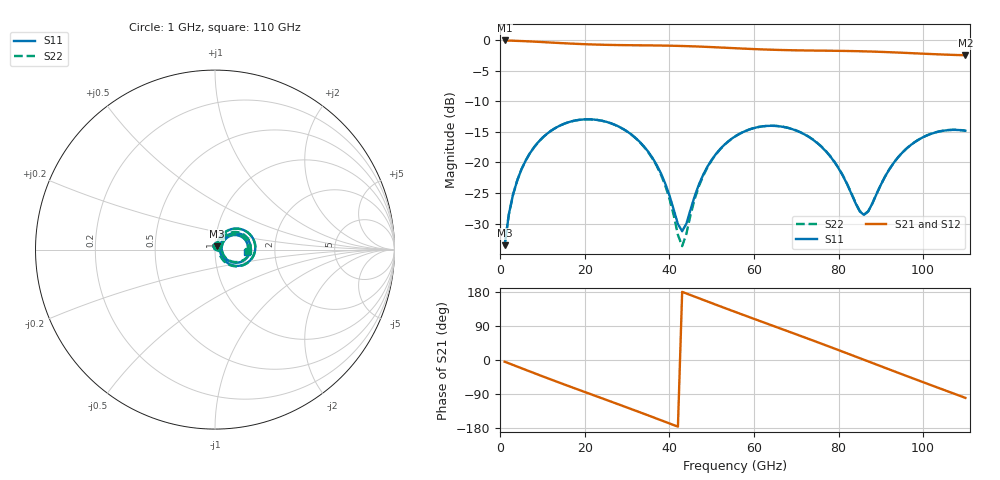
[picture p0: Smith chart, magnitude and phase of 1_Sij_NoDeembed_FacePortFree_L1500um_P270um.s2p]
! Touchstone file exported from HFSS 2024.2.0
!  File:  C:/Users/vaintrug/Documents/Ansoft_Workspace/Comparaison_Calculs_HFSS/1_VarPort.aedt
!  Generated:  03:22:17 PM Jan 21, 2025
!  Design:  1_NoDeembed_FacePortFree
!  Project:  1_VarPort
!  Setup:  Setup1
!  Solution:  Sweep
! Variables:
!  $Lenght = 1500um
!  $PortSize = 270um
!  Gap = 30um
!  Th = 2um
!  X_centralStrip = 20um
!  X_masse = 200um
!  Y_Sub = 1.5mm
!  Z_Box = 400um
!  Z_Sub = 200um
# GHz S MA R 50.000000
! Terminal data exported
! Port[1] = 1
! Port[2] = 2
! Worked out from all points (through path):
!   110 points, 1 GHz to 110 GHz, reference 50 ohm
!   highest |S21| = -0.10 dB at 1 GHz (marker M1); lowest = -2.5 dB at 110 GHz (marker M2)
!   group delay of S21, straight-line fit = 11.6 ps
!   lowest |S11| = -33.5 dB at 1 GHz (marker M3), VSWR 1.04, Z = 50.9 + j1.92 ohm
!   |S11| at or under -10 dB: start of sweep to end of sweep
!   |S22| runs from -33.6 to -13.0 dB; largest |S21 - S12| = 2e-15
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1  0.0211 63.0  0.9891 -4.4  0.9891 -4.4  0.0211 63.0
! Gamma 5.96655791302537 49.7852929110469 5.73198352663946 49.7347754602921
! Port Impedance 50 0 50 0
2  0.03778 69.8  0.9865 -8.8  0.9865 -8.8  0.03778 69.7
3  0.05478 70.0  0.984 -13.1  0.984 -13.1  0.05479 70.0
7  0.1192 58.5  0.9712 -30.4  0.9712 -30.4  0.1192 58.4
14  0.1993 31.4  0.9428 -59.9  0.9428 -59.9  0.1993 31.2
20  0.2249 8.3  0.922 -84.6  0.922 -84.6  0.2248 7.8
29  0.1882 -24.8  0.9062 -121.4  0.9062 -121.4  0.1877 -25.8
34  0.1348 -41.0  0.9024 -142.1  0.9024 -142.1  0.1338 -42.9
38  0.08126 -48.8  0.8989 -159.0  0.8989 -159.0  0.07928 -52.5
43  0.02751 2.1  0.8913 179.8  0.8913 179.8  0.02078 3.6
46  0.05361 48.7  0.8845 167.1  0.8845 167.1  0.05079 56.2
48  0.07978 51.6  0.879 158.6  0.879 158.6  0.07814 57.0
52  0.1289 43.9  0.8665 141.7  0.8665 141.7  0.1283 47.5
56  0.1671 31.6  0.8534 125.1  0.8534 125.1  0.1669 34.5
65  0.1987 1.2  0.8295 88.1  0.8295 88.1  0.1991 3.4
74  0.1529 -27.7  0.8182 51.2  0.8182 51.2  0.1535 -25.7
79  0.1012 -38.9  0.8146 30.3  0.8146 30.3  0.1018 -36.9
86  0.03738 2.7  0.8062 0.6  0.8062 0.6  0.03764 4.1
92  0.08789 44.9  0.7934 -24.9  0.7934 -24.9  0.08792 46.6
96  0.1292 38.5  0.7827 -41.8  0.7827 -41.8  0.1293 40.3
101  0.1668 24.5  0.7688 -62.7  0.7688 -62.7  0.1671 26.3
110  0.1814 -3.8  0.7492 -99.9  0.7492 -99.9  0.1818 -2.1
